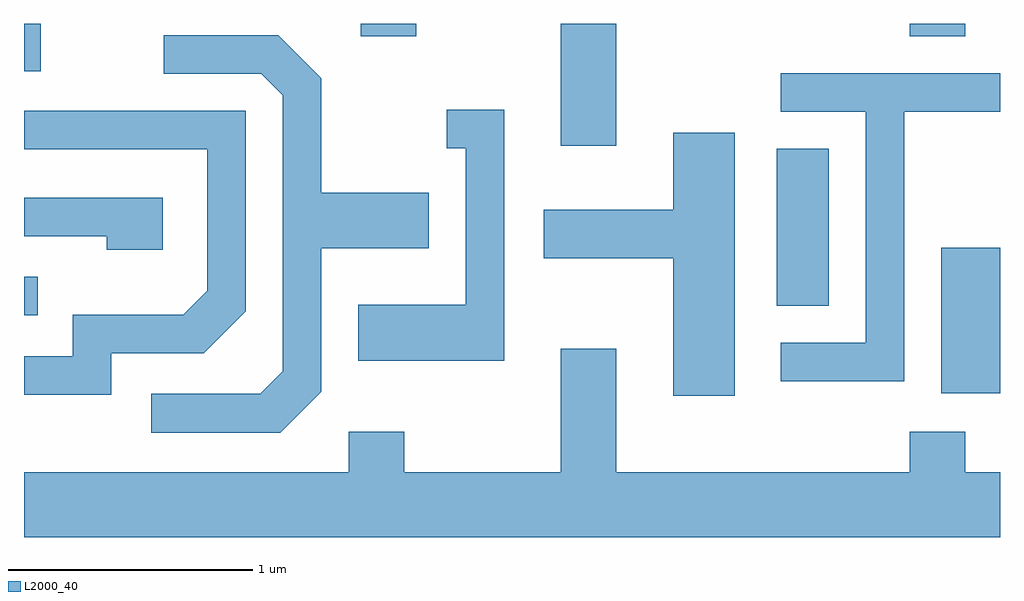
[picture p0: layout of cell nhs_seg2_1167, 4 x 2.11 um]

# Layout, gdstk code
import gdstk
lib = gdstk.Library(unit=1e-6, precision=1e-09)
def R(c, l, rs):  # rectangles x0, y0, x1, y1
    for r in rs: c.add(gdstk.rectangle(r[:2], r[2:], *l))
def P(c, l, *ps):  # polygons
    for p in ps: c.add(gdstk.Polygon(p, *l))
L2000_40 = (2000, 40)

nhs_seg2_1167 = lib.new_cell('nhs_seg2_1167')
R(nhs_seg2_1167, L2000_40, [(223.371,1002.286,223.611,1002.884), (219.611,1002.606,219.668,1002.764), (222.696,1002.646,222.909,1003.289), (221.811,1003.301,222.039,1003.802), (219.611,1003.606,219.679,1003.802), (220.991,1003.751,221.219,1003.802), (223.241,1003.751,223.469,1003.802)])
P(nhs_seg2_1167, L2000_40, [(220.829,1002.294),(220.829,1002.881),(221.269,1002.881),(221.269,1003.109),(220.829,1003.109),(220.829,1003.577),(220.652,1003.754),(220.183,1003.754),(220.183,1003.596),(220.584,1003.596),(220.671,1003.509),(220.671,1002.377),(220.579,1002.284),(220.133,1002.284),(220.133,1002.126),(220.662,1002.126)],
  [(223.219,1003.441),(223.611,1003.441),(223.611,1003.599),(222.713,1003.599),(222.713,1003.441),(223.061,1003.441),(223.061,1002.494),(222.713,1002.494),(222.713,1002.336),(223.219,1002.336)],
  [(221.579,1003.449),(221.343,1003.449),(221.343,1003.291),(221.421,1003.291),(221.421,1002.649),(220.981,1002.649),(220.981,1002.421),(221.579,1002.421)],
  [(219.969,1002.451),(220.347,1002.451),(220.519,1002.624),(220.519,1003.444),(219.611,1003.444),(219.611,1003.286),(220.361,1003.286),(220.361,1002.707),(220.264,1002.609),(219.811,1002.609),(219.811,1002.439),(219.611,1002.439),(219.611,1002.281),(219.969,1002.281)],
  [(222.524,1003.354),(222.271,1003.354),(222.271,1003.039),(221.741,1003.039),(221.741,1002.841),(222.271,1002.841),(222.271,1002.276),(222.524,1002.276)],
  [(220.179,1003.089),(219.611,1003.089),(219.611,1002.931),(219.951,1002.931),(219.951,1002.876),(220.179,1002.876)],
  [(223.611,1001.964),(223.469,1001.964),(223.469,1002.129),(223.241,1002.129),(223.241,1001.964),(222.039,1001.964),(222.039,1002.469),(221.811,1002.469),(221.811,1001.964),(221.169,1001.964),(221.169,1002.129),(220.941,1002.129),(220.941,1001.964),(219.611,1001.964),(219.611,1001.696),(223.611,1001.696)])

lib.write_gds('nhs_seg2_1167.gds')
